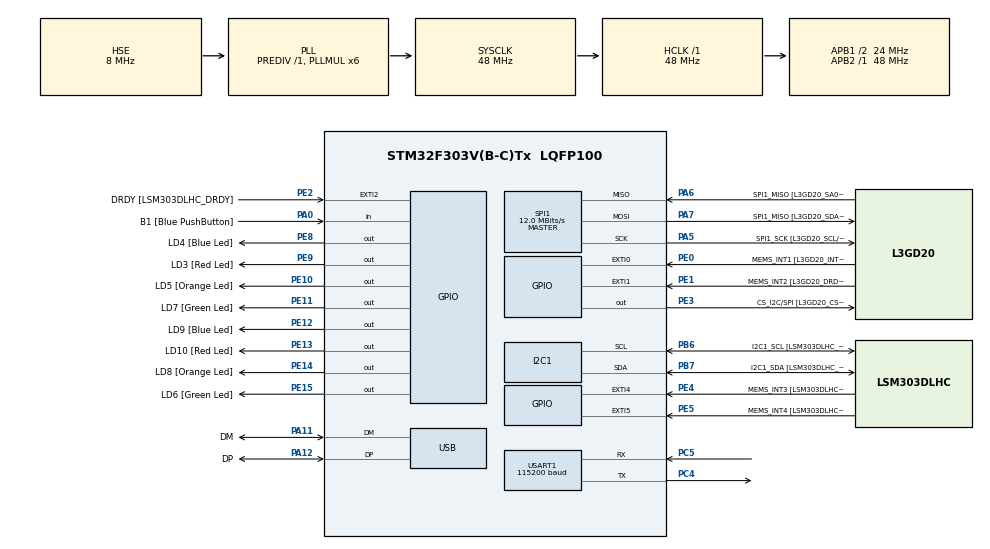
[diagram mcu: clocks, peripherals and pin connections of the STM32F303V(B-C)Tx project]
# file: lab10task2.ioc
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I2C1.Timing=0x2000090E
I2C1.Timing-I2C=0x2000090E
Mcu.Family=STM32F3
Mcu.Name=STM32F303V(B-C)Tx
Mcu.Package=LQFP100
NVIC.PriorityGroup=NVIC_PRIORITYGROUP_0
PA0.GPIO_Label=B1 [Blue PushButton]
PA0.Signal=GPIO_Input
PA11.GPIO_Label=DM
PA11.Mode=Device
PA11.Signal=USB_DM
PA12.GPIO_Label=DP
PA12.Mode=Device
PA12.Signal=USB_DP
PA13.GPIO_Label=SWDIO
PA13.Mode=Serial_Wire
PA13.Signal=SYS_JTMS-SWDIO
PA14.GPIO_Label=SWCLK
PA14.Mode=Serial_Wire
PA14.Signal=SYS_JTCK-SWCLK
PA5.GPIO_Label=SPI1_SCK [L3GD20_SCL/SPC]
PA5.Mode=Full_Duplex_Master
PA5.Signal=SPI1_SCK
PA6.GPIO_Label=SPI1_MISO [L3GD20_SA0/SDO]
PA6.Mode=Full_Duplex_Master
PA6.Signal=SPI1_MISO
PA7.GPIO_Label=SPI1_MISO [L3GD20_SDA/SDI/SDO]
PA7.Mode=Full_Duplex_Master
PA7.Signal=SPI1_MOSI
PB3.GPIO_Label=SWO
PB3.Signal=SYS_JTDO-TRACESWO
PB6.GPIO_Label=I2C1_SCL [LSM303DLHC_SCL]
PB6.GPIO_Pu=GPIO_PULLUP
PB6.Mode=I2C
PB6.Signal=I2C1_SCL
PB7.GPIO_Label=I2C1_SDA [LSM303DLHC_SDA]
PB7.GPIO_Pu=GPIO_PULLUP
PB7.Mode=I2C
PB7.Signal=I2C1_SDA
PC14-OSC32_IN.GPIO_Label=OSC32_IN
PC14-OSC32_IN.Signal=RCC_OSC32_IN
PC15-OSC32_OUT.GPIO_Label=OSC32_OUT
PC15-OSC32_OUT.Signal=RCC_OSC32_OUT
PC4.Mode=Asynchronous
PC4.Signal=USART1_TX
PC5.Mode=Asynchronous
PC5.Signal=USART1_RX
PE0.GPIO_Label=MEMS_INT1 [L3GD20_INT1]
PE0.GPIO_ModeDefaultEXTI=GPIO_MODE_EVT_RISING
PE0.Signal=GPXTI0
PE1.GPIO_Label=MEMS_INT2 [L3GD20_DRDY/INT2]
PE1.GPIO_ModeDefaultEXTI=GPIO_MODE_EVT_RISING
PE1.Signal=GPXTI1
PE10.GPIO_Label=LD5 [Orange Led]
PE10.Signal=GPIO_Output
PE11.GPIO_Label=LD7 [Green Led]
PE11.Signal=GPIO_Output
PE12.GPIO_Label=LD9 [Blue Led]
PE12.Signal=GPIO_Output
PE13.GPIO_Label=LD10 [Red Led]
PE13.Signal=GPIO_Output
PE14.GPIO_Label=LD8 [Orange Led]
PE14.Signal=GPIO_Output
PE15.GPIO_Label=LD6 [Green Led]
PE15.Signal=GPIO_Output
PE2.GPIO_Label=DRDY [LSM303DLHC_DRDY]
PE2.GPIO_ModeDefaultEXTI=GPIO_MODE_EVT_RISING
PE2.Signal=GPXTI2
PE3.GPIO_Label=CS_I2C/SPI [L3GD20_CS_I2C/SPI]
PE3.Signal=GPIO_Output
PE4.GPIO_Label=MEMS_INT3 [LSM303DLHC_INT1]
PE4.GPIO_ModeDefaultEXTI=GPIO_MODE_EVT_RISING
PE4.Signal=GPXTI4
PE5.GPIO_Label=MEMS_INT4 [LSM303DLHC_INT2]
PE5.GPIO_ModeDefaultEXTI=GPIO_MODE_EVT_RISING
PE5.Signal=GPXTI5
PE8.GPIO_Label=LD4 [Blue Led]
PE8.Signal=GPIO_Output
PE9.GPIO_Label=LD3 [Red Led]
PE9.Signal=GPIO_Output
PF0-OSC_IN.GPIO_Label=OSC_IN
PF0-OSC_IN.Mode=HSE-External-Clock-Source
PF0-OSC_IN.Signal=RCC_OSC_IN
PF1-OSC_OUT.GPIO_Label=OSC_OUT
PF1-OSC_OUT.Signal=RCC_OSC_OUT
ProjectManager.HeapSize=0x200
ProjectManager.StackSize=0x400
ProjectManager.TargetToolchain=CMake
RCC.AHBFreq_Value=48000000
RCC.APB1CLKDivider=RCC_HCLK_DIV2
RCC.APB1Freq_Value=24000000
RCC.APB1TimFreq_Value=48000000
RCC.APB2Freq_Value=48000000
RCC.APB2TimFreq_Value=48000000
RCC.CortexFreq_Value=48000000
RCC.HCLKFreq_Value=48000000
RCC.HSE_VALUE=8000000
RCC.HSI_VALUE=8000000
RCC.LSE_VALUE=32768
RCC.PLLMUL=RCC_PLL_MUL6
RCC.SYSCLKFreq_VALUE=48000000
RCC.SYSCLKSourceVirtual=RCC_SYSCLKSOURCE_PLLCLK
RCC.USBFreq_Value=48000000
SPI1.BaudRatePrescaler=SPI_BAUDRATEPRESCALER_4
SPI1.BaudRatePrescaler-Full_Duplex_Master=SPI_BAUDRATEPRESCALER_2
SPI1.CalculateBaudRate=12.0 MBits/s
SPI1.CalculateBaudRate-Full_Duplex_Master=24.0 MBits/s
SPI1.Direction=SPI_DIRECTION_2LINES
SPI1.Mode=SPI_MODE_MASTER
SPI1.Mode-Full_Duplex_Master=SPI_MODE_MASTER
SPI1.VirtualType=VM_MASTER
USART1.BaudRate=115200
USART1.VirtualMode-Asynchronous=VM_ASYNC
board=STM32F3DISCOVERY

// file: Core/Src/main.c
/* USER CODE BEGIN Header */
/**
  ******************************************************************************
  * @file           : main.c
  * @brief          : Main program body
  ******************************************************************************
  * @attention
  *
  * Copyright (c) 2025 STMicroelectronics.
  * All rights reserved.
  *
  * This software is licensed under terms that can be found in the LICENSE file
  * in the root directory of this software component.
  * If no LICENSE file comes with this software, it is provided AS-IS.
  *
  ******************************************************************************
  */
/* USER CODE END Header */
#include "main.h"
//#include "usb_device.h"

/* USER CODE BEGIN Includes */
#include "heap_driver.h"
#include <string.h>
#include <stdio.h>
#include "heap_driver.h"
#include <stdio.h>
/* USER CODE END Includes */

I2C_HandleTypeDef hi2c1;

SPI_HandleTypeDef hspi1;

UART_HandleTypeDef huart1;

void SystemClock_Config(void);
static void MX_GPIO_Init(void);
static void MX_I2C1_Init(void);
static void MX_SPI1_Init(void);
static void MX_USART1_UART_Init(void);

/* USER CODE BEGIN 0 */
void print_uart(const char* msg) {
  HAL_UART_Transmit(&huart1, (uint8_t*)msg, strlen(msg), HAL_MAX_DELAY);
}

/* USER CODE END 0 */

int main(void)
{

  /* MCU Configuration--------------------------------------------------------*/

  /* Reset of all peripherals, Initializes the Flash interface and the Systick. */
  HAL_Init();

  /* Configure the system clock */
  SystemClock_Config();

  /* Initialize all configured peripherals */
  MX_GPIO_Init();
  MX_I2C1_Init();
  MX_SPI1_Init();
  MX_USART1_UART_Init();
  // MX_USB_DEVICE_Init();
  /* USER CODE BEGIN 2 */
  HAL_Init();
    SystemClock_Config();

    heap_init();
    printf("Heap initialized\n");
    heap_print_map();

    void* p1 = heap_alloc(64);
    printf("Allocated 64 bytes at %p\n", p1);
    heap_print_map();

    void* p2 = heap_alloc(128);
    printf("Allocated 128 bytes at %p\n", p2);
    heap_print_map();

    heap_free(p1);
    printf("Freed first allocation\n");
    heap_print_map();

    heap_free(p2);
    printf("Freed second allocation\n");
    heap_print_map();

    while (1);
  // Print a message over UART to indicate the start of the test.
  print_uart("=== Custom Heap Driver (Direct SRAM) ===\r\n");

  // Initialize the custom heap allocator.
  // This function sets up internal memory structures (e.g., the block_map array)
  // so that all heap memory is marked as free.
  // It MUST be called before using heap_alloc or heap_free.
  heap_init();

  // Allocate 32 bytes from the heap.
  // heap_alloc returns a pointer to a memory region in SRAM that is at least 32 bytes long.
  // We cast the void* return type to char* so we can use string functions like strcpy.
  char* block1 = (char*)heap_alloc(32);

  // Allocate 48 bytes from the heap.
  char* block2 = (char*)heap_alloc(48);

  // Check if both allocations were successful (i.e., the returned pointers are not NULL).
  if (block1 && block2) {
      // If successful, store strings into the allocated memory regions.
      // Since the memory comes from our own heap allocator, we assume it behaves like malloc.
      strcpy(block1, "Data in Block 1");    // Copy string into the memory allocated in block1
      strcpy(block2, "Text from Block 2");  // Copy string into the memory allocated in block2

      // Print the contents of both blocks over UART.
      // This confirms that memory was correctly allocated and can be accessed.
      print_uart(block1);
      print_uart("\r\n");
      print_uart(block2);
      print_uart("\r\n");

  } else {
      // If either allocation failed (due to insufficient memory or a bug), print an error message.
      print_uart("Allocation failed.\r\n");
  }

  // Free the memory blocks that were previously allocated.
  // This makes them available again for future calls to heap_alloc.
  // It's important to always free memory when you're done using it to avoid memory leaks.
  heap_free(block1);
  heap_free(block2);

  // Print a confirmation that memory has been freed.
  print_uart("Blocks freed.\r\n");

  /* USER CODE END 2 */

  /* Infinite loop */
  while (1)
  {
  }
}

void SystemClock_Config(void)
{
  RCC_OscInitTypeDef RCC_OscInitStruct = {0};
  RCC_ClkInitTypeDef RCC_ClkInitStruct = {0};
  RCC_PeriphCLKInitTypeDef PeriphClkInit = {0};

  /** Initializes the RCC Oscillators according to the specified parameters
  * in the RCC_OscInitTypeDef structure.
  */
  RCC_OscInitStruct.OscillatorType = RCC_OSCILLATORTYPE_HSI|RCC_OSCILLATORTYPE_HSE;
  RCC_OscInitStruct.HSEState = RCC_HSE_BYPASS;
  RCC_OscInitStruct.HSEPredivValue = RCC_HSE_PREDIV_DIV1;
  RCC_OscInitStruct.HSIState = RCC_HSI_ON;
  RCC_OscInitStruct.HSICalibrationValue = RCC_HSICALIBRATION_DEFAULT;
  RCC_OscInitStruct.PLL.PLLState = RCC_PLL_ON;
  RCC_OscInitStruct.PLL.PLLSource = RCC_PLLSOURCE_HSE;
  RCC_OscInitStruct.PLL.PLLMUL = RCC_PLL_MUL6;
  if (HAL_RCC_OscConfig(&RCC_OscInitStruct) != HAL_OK)
  {
    Error_Handler();
  }

  /** Initializes the CPU, AHB and APB buses clocks
  */
  RCC_ClkInitStruct.ClockType = RCC_CLOCKTYPE_HCLK|RCC_CLOCKTYPE_SYSCLK
                              |RCC_CLOCKTYPE_PCLK1|RCC_CLOCKTYPE_PCLK2;
  RCC_ClkInitStruct.SYSCLKSource = RCC_SYSCLKSOURCE_PLLCLK;
  RCC_ClkInitStruct.AHBCLKDivider = RCC_SYSCLK_DIV1;
  RCC_ClkInitStruct.APB1CLKDivider = RCC_HCLK_DIV2;
  RCC_ClkInitStruct.APB2CLKDivider = RCC_HCLK_DIV1;

  if (HAL_RCC_ClockConfig(&RCC_ClkInitStruct, FLASH_LATENCY_1) != HAL_OK)
  {
    Error_Handler();
  }
  PeriphClkInit.PeriphClockSelection = RCC_PERIPHCLK_USB|RCC_PERIPHCLK_USART1
                              |RCC_PERIPHCLK_I2C1;
  PeriphClkInit.Usart1ClockSelection = RCC_USART1CLKSOURCE_PCLK2;
  PeriphClkInit.I2c1ClockSelection = RCC_I2C1CLKSOURCE_HSI;
  PeriphClkInit.USBClockSelection = RCC_USBCLKSOURCE_PLL;
  if (HAL_RCCEx_PeriphCLKConfig(&PeriphClkInit) != HAL_OK)
  {
    Error_Handler();
  }
}

static void MX_I2C1_Init(void)
{

  hi2c1.Instance = I2C1;
  hi2c1.Init.Timing = 0x2000090E;
  hi2c1.Init.OwnAddress1 = 0;
  hi2c1.Init.AddressingMode = I2C_ADDRESSINGMODE_7BIT;
  hi2c1.Init.DualAddressMode = I2C_DUALADDRESS_DISABLE;
  hi2c1.Init.OwnAddress2 = 0;
  hi2c1.Init.OwnAddress2Masks = I2C_OA2_NOMASK;
  hi2c1.Init.GeneralCallMode = I2C_GENERALCALL_DISABLE;
  hi2c1.Init.NoStretchMode = I2C_NOSTRETCH_DISABLE;
  if (HAL_I2C_Init(&hi2c1) != HAL_OK)
  {
    Error_Handler();
  }

  /** Configure Analogue filter
  */
  if (HAL_I2CEx_ConfigAnalogFilter(&hi2c1, I2C_ANALOGFILTER_ENABLE) != HAL_OK)
  {
    Error_Handler();
  }

  /** Configure Digital filter
  */
  if (HAL_I2CEx_ConfigDigitalFilter(&hi2c1, 0) != HAL_OK)
  {
    Error_Handler();
  }

}

static void MX_SPI1_Init(void)
{

  /* SPI1 parameter configuration*/
  hspi1.Instance = SPI1;
  hspi1.Init.Mode = SPI_MODE_MASTER;
  hspi1.Init.Direction = SPI_DIRECTION_2LINES;
  hspi1.Init.DataSize = SPI_DATASIZE_4BIT;
  hspi1.Init.CLKPolarity = SPI_POLARITY_LOW;
  hspi1.Init.CLKPhase = SPI_PHASE_1EDGE;
  hspi1.Init.NSS = SPI_NSS_SOFT;
  hspi1.Init.BaudRatePrescaler = SPI_BAUDRATEPRESCALER_4;
  hspi1.Init.FirstBit = SPI_FIRSTBIT_MSB;
  hspi1.Init.TIMode = SPI_TIMODE_DISABLE;
  hspi1.Init.CRCCalculation = SPI_CRCCALCULATION_DISABLE;
  hspi1.Init.CRCPolynomial = 7;
  hspi1.Init.CRCLength = SPI_CRC_LENGTH_DATASIZE;
  hspi1.Init.NSSPMode = SPI_NSS_PULSE_ENABLE;
  if (HAL_SPI_Init(&hspi1) != HAL_OK)
  {
    Error_Handler();
  }

}

static void MX_USART1_UART_Init(void)
{

  huart1.Instance = USART1;
  huart1.Init.BaudRate = 9600;
  huart1.Init.WordLength = UART_WORDLENGTH_8B;
  huart1.Init.StopBits = UART_STOPBITS_1;
  huart1.Init.Parity = UART_PARITY_NONE;
  huart1.Init.Mode = UART_MODE_TX_RX;
  huart1.Init.HwFlowCtl = UART_HWCONTROL_NONE;
  huart1.Init.OverSampling = UART_OVERSAMPLING_16;
  huart1.Init.OneBitSampling = UART_ONE_BIT_SAMPLE_DISABLE;
  huart1.AdvancedInit.AdvFeatureInit = UART_ADVFEATURE_NO_INIT;
  if (HAL_UART_Init(&huart1) != HAL_OK)
  {
    Error_Handler();
  }

}

static void MX_GPIO_Init(void)
{
  GPIO_InitTypeDef GPIO_InitStruct = {0};

  /* GPIO Ports Clock Enable */
  __HAL_RCC_GPIOE_CLK_ENABLE();
  __HAL_RCC_GPIOC_CLK_ENABLE();
  __HAL_RCC_GPIOF_CLK_ENABLE();
  __HAL_RCC_GPIOA_CLK_ENABLE();
  __HAL_RCC_GPIOB_CLK_ENABLE();

  /*Configure GPIO pin Output Level */
  HAL_GPIO_WritePin(GPIOE, CS_I2C_SPI_Pin|LD4_Pin|LD3_Pin|LD5_Pin
                          |LD7_Pin|LD9_Pin|LD10_Pin|LD8_Pin
                          |LD6_Pin, GPIO_PIN_RESET);

  /*Configure GPIO pins : DRDY_Pin MEMS_INT3_Pin MEMS_INT4_Pin MEMS_INT1_Pin
                           MEMS_INT2_Pin */
  GPIO_InitStruct.Pin = DRDY_Pin|MEMS_INT3_Pin|MEMS_INT4_Pin|MEMS_INT1_Pin
                          |MEMS_INT2_Pin;
  GPIO_InitStruct.Mode = GPIO_MODE_EVT_RISING;
  GPIO_InitStruct.Pull = GPIO_NOPULL;
  HAL_GPIO_Init(GPIOE, &GPIO_InitStruct);

  /*Configure GPIO pins : CS_I2C_SPI_Pin LD4_Pin LD3_Pin LD5_Pin
                           LD7_Pin LD9_Pin LD10_Pin LD8_Pin
                           LD6_Pin */
  GPIO_InitStruct.Pin = CS_I2C_SPI_Pin|LD4_Pin|LD3_Pin|LD5_Pin
                          |LD7_Pin|LD9_Pin|LD10_Pin|LD8_Pin
                          |LD6_Pin;
  GPIO_InitStruct.Mode = GPIO_MODE_OUTPUT_PP;
  GPIO_InitStruct.Pull = GPIO_NOPULL;
  GPIO_InitStruct.Speed = GPIO_SPEED_FREQ_LOW;
  HAL_GPIO_Init(GPIOE, &GPIO_InitStruct);

  /*Configure GPIO pin : B1_Pin */
  GPIO_InitStruct.Pin = B1_Pin;
  GPIO_InitStruct.Mode = GPIO_MODE_INPUT;
  GPIO_InitStruct.Pull = GPIO_NOPULL;
  HAL_GPIO_Init(B1_GPIO_Port, &GPIO_InitStruct);

}

void Error_Handler(void)
{
  __disable_irq();
  while (1)
  {
  }
}
